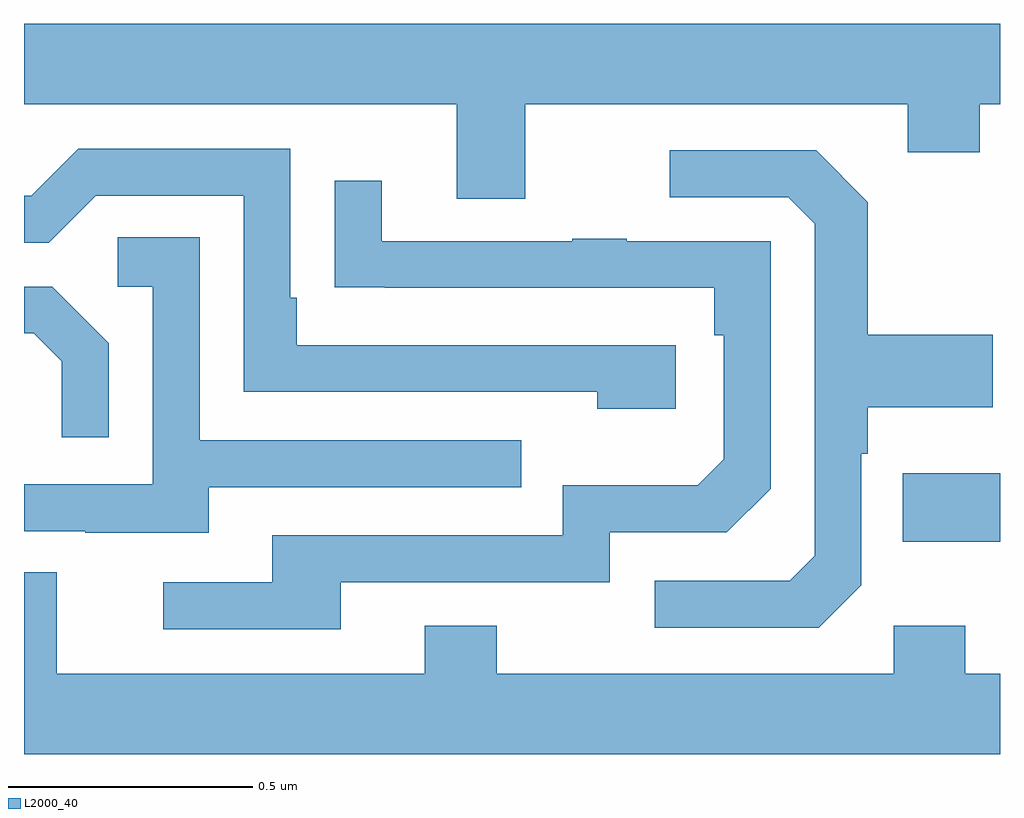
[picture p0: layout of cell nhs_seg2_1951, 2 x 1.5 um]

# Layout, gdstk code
import gdstk
lib = gdstk.Library(unit=1e-6, precision=1e-09)
def R(c, l, rs):  # rectangles x0, y0, x1, y1
    for r in rs: c.add(gdstk.rectangle(r[:2], r[2:], *l))
def P(c, l, *ps):  # polygons
    for p in ps: c.add(gdstk.Polygon(p, *l))
L2000_40 = (2000, 40)

nhs_seg2_1951 = lib.new_cell('nhs_seg2_1951')
R(nhs_seg2_1951, L2000_40, [(136.801,601.451,137,601.591)])
P(nhs_seg2_1951, L2000_40, [(136.027,602.348),(136.811,602.348),(136.811,602.249),(136.959,602.249),(136.959,602.348),(137,602.348),(137,602.512),(135,602.512),(135,602.348),(135.887,602.348),(135.887,602.154),(136.027,602.154)],
  [(136.336,601.854),(135.559,601.854),(135.559,601.951),(135.546,601.951),(135.546,602.256),(135.111,602.256),(135.015,602.16),(135,602.16),(135,602.064),(135.051,602.064),(135.147,602.16),(135.45,602.16),(135.45,601.758),(136.175,601.758),(136.175,601.724),(136.336,601.724)],
  [(136.716,601.362),(136.716,601.631),(136.729,601.631),(136.729,601.727),(136.985,601.727),(136.985,601.875),(136.729,601.875),(136.729,602.147),(136.623,602.253),(136.323,602.253),(136.323,602.157),(136.566,602.157),(136.62,602.103),(136.62,601.422),(136.569,601.371),(136.293,601.371),(136.293,601.275),(136.629,601.275)],
  [(135.649,601.368),(136.2,601.368),(136.2,601.47),(136.44,601.47),(136.53,601.56),(136.53,602.067),(136.235,602.067),(136.235,602.072),(136.123,602.072),(136.123,602.067),(135.733,602.067),(135.733,602.191),(135.637,602.191),(135.637,601.972),(135.739,601.972),(135.739,601.971),(136.414,601.971),(136.414,601.874),(136.434,601.874),(136.434,601.62),(136.381,601.567),(136.104,601.567),(136.104,601.464),(135.509,601.464),(135.509,601.368),(135.285,601.368),(135.285,601.272),(135.649,601.272)],
  [(135.379,601.563),(136.019,601.563),(136.019,601.659),(135.36,601.659),(135.36,602.075),(135.192,602.075),(135.192,601.974),(135.264,601.974),(135.264,601.569),(135,601.569),(135,601.473),(135.125,601.473),(135.125,601.469),(135.379,601.469)],
  [(135.174,601.858),(135.058,601.974),(135,601.974),(135,601.878),(135.02,601.878),(135.077,601.821),(135.077,601.665),(135.174,601.665)],
  [(137,601.18),(136.929,601.18),(136.929,601.279),(136.782,601.279),(136.782,601.18),(135.969,601.18),(135.969,601.279),(135.821,601.279),(135.821,601.18),(135.067,601.18),(135.067,601.388),(135,601.388),(135,601.016),(137,601.016)])

lib.write_gds('nhs_seg2_1951.gds')
